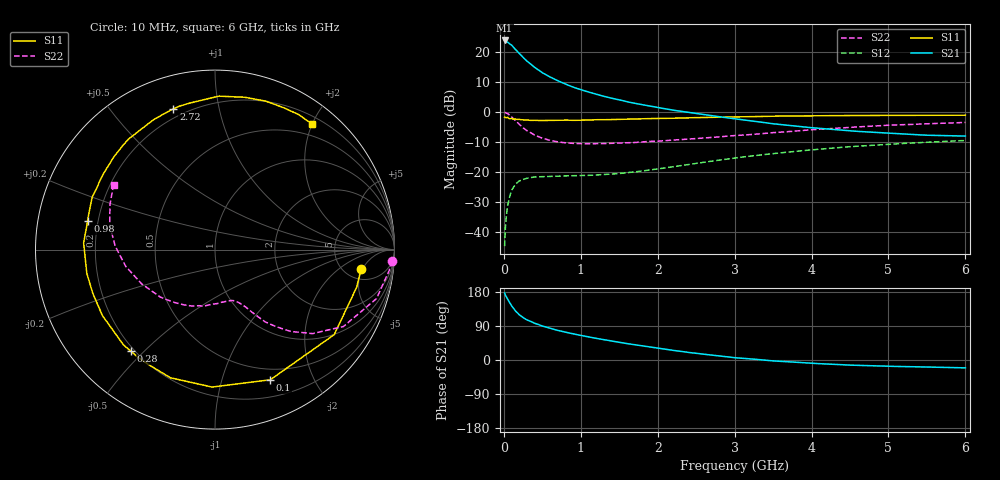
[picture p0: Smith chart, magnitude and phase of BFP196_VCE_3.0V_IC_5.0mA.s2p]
! Infineon Technologies  Discrete & RF Semiconductors
! BFP196
! VCE = 3.0 V,  IC = 5.0mA
! Common Emitter S-Parameters:  Jan 2016
# GHz  S  MA  R  50
!  f  S11  S21  S12  S22
! GHz  MAG  ANG  MAG  ANG  MAG  ANG  MAG  ANG
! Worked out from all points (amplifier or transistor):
!   210 points, 10 MHz to 6 GHz, reference 50 ohm
!   highest |S21| = 23.9 dB at 10 MHz (marker M1)
!   |S21| within 3 dB of that: start of sweep to 150.9 MHz
!   unconditionally stable (mu >= 1): 1.115 GHz to 3.332 GHz
!   at 185 MHz: K = 0.19, MSG = 21.7 dB, |S12| = -23.4 dB
!   at 1.52 GHz: K = 1.19, MAG = 9.6 dB, |S12| = -20.5 dB
!   at 6 GHz: K = 0.99, MSG = 0.7 dB, |S12| = -9.5 dB
!   S11 on the Smith chart (normalised r, x): 10 MHz: 7.02, -4.68; 100 MHz: 0.38, -1.44; 280 MHz: 0.19, -0.46; 980 MHz: 0.16, +0.11; 2.72 GHz: 0.16, +0.74; 6 GHz: 0.31, +1.99
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0.01  0.8211 -7.6  15.73 176.9  0.0057 86.5  0.9884 -3.7
0.02  0.8167 -14.9  15.46 171.5  0.0114 81.9  0.9768 -7.0
0.05  0.8158 -35.5  14.79 160.1  0.0276 72.1  0.9404 -16.9
0.1  0.788 -67.0  13.2 143.0  0.0487 57.6  0.834 -30.9
0.15  0.7661 -91.2  11.17 129.3  0.0618 46.2  0.7175 -40.7
0.2  0.756 -109.1  9.595 119.5  0.0702 39.0  0.6232 -47.1
0.24  0.7397 -120.6  8.455 113.4  0.0737 34.5  0.5593 -50.8
0.28  0.7348 -129.7  7.53 108.3  0.0766 31.3  0.5103 -53.9
0.3  0.736 -133.9  7.107 105.8  0.0779 29.9  0.4884 -55.3
0.4  0.7271 -149.6  5.583 96.9  0.082 25.1  0.4112 -59.1
0.5  0.7231 -160.4  4.544 89.6  0.0828 22.7  0.3641 -61.8
0.7  0.7258 -177.2  3.337 78.1  0.0843 21.2  0.3165 -66.9
0.8  0.7328 177.0  2.928 73.4  0.0854 21.3  0.3048 -69.3
0.98  0.7278 167.3  2.408 65.8  0.0865 22.6  0.2966 -73.7
1.02  0.7297 165.3  2.318 64.2  0.0867 23.1  0.2958 -74.8
1.4  0.7478 148.9  1.696 50.2  0.0914 28.6  0.3 -86.2
2.02  0.7819 127.4  1.178 30.7  0.1125 37.5  0.3259 -106.4
2.72  0.8174 106.5  0.86 12.5  0.1516 39.7  0.3768 -130.0
3.1  0.8313 97.4  0.742 4.6  0.1764 37.5  0.4104 -142.6
4.1  0.8653 77.4  0.533 -9.7  0.2386 27.8  0.5141 -172.1
5.1  0.8787 63.0  0.435 -17.0  0.2934 15.4  0.6072 164.9
6  0.8844 52.5  0.396 -20.8  0.3339 3.7  0.6696 147.6
